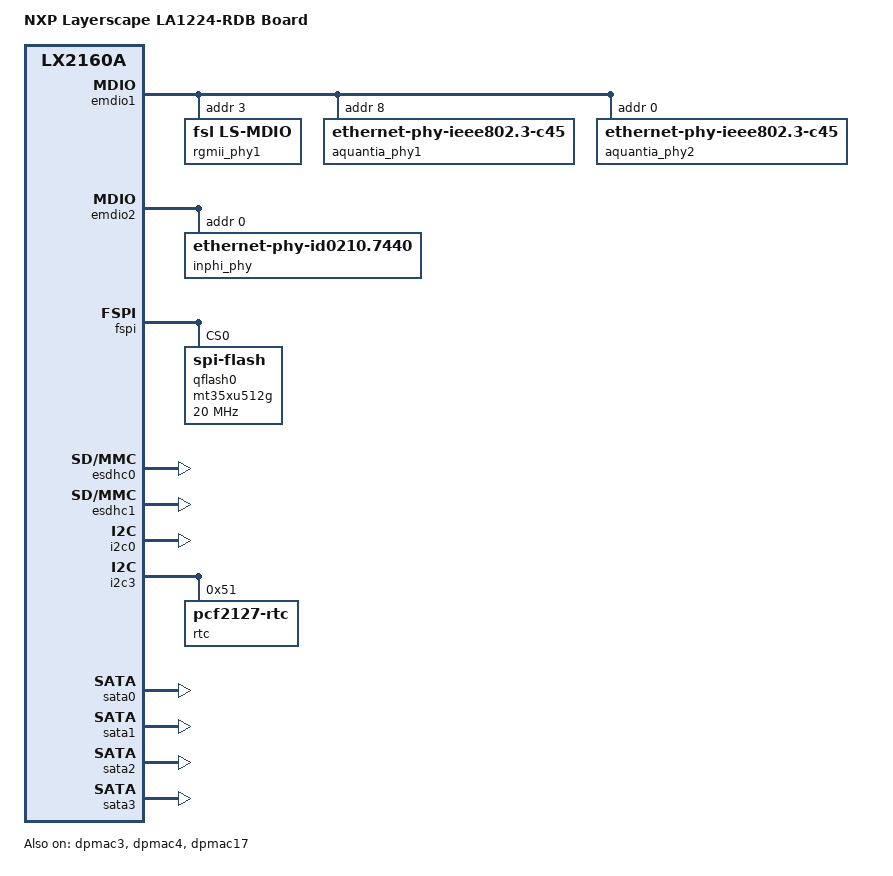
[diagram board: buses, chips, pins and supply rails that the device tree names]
// SPDX-License-Identifier: GPL-2.0+ OR X11
/*
 * NXP LA1224RDB device tree source
 *
 * Copyright 2020-2022 NXP
 *
 */

/dts-v1/;

#include "fsl-lx2160a.dtsi"

/ {
	model = "NXP Layerscape LA1224-RDB Board";
	compatible = "nxp,la1224rdb", "fsl,lx2160a";

	aliases {
		spi0 = &fspi;
	};
};

&dpmac3 {
	status = "okay";
	phy-handle = <&aquantia_phy1>;
	phy-connection-type = "usxgmii";
};

&dpmac4 {
	status = "okay";
	phy-handle = <&aquantia_phy2>;
	phy-connection-type = "usxgmii";
};

&dpmac17 {
	status = "okay";
	phy-handle = <&rgmii_phy1>;
	phy-connection-type = "rgmii-id";
};

&emdio1 {
	status = "okay";
	rgmii_phy1: ethernet-phy@1 {
		/* AR8035 PHY - "compatible" property not strictly needed */
		compatible = "fsl,ls-mdio";
		reg = <0x3>;
		/* Poll mode - no "interrupts" property defined */
	};
	aquantia_phy1: ethernet-phy@4 {
		/* AQR107 PHY - "compatible" property not strictly needed */
		compatible = "ethernet-phy-ieee802.3-c45";
		interrupts = <GIC_SPI 2 IRQ_TYPE_LEVEL_HIGH>;
		reg = <0x8>;
	};
	aquantia_phy2: ethernet-phy@5 {
		/* AQR107 PHY - "compatible" property not strictly needed */
		compatible = "ethernet-phy-ieee802.3-c45";
		interrupts = <GIC_SPI 3 IRQ_TYPE_LEVEL_HIGH>;
		reg = <0x0>;
	};
};

&emdio2 {
	status = "okay";
	inphi_phy: ethernet-phy@0 {
		compatible = "ethernet-phy-id0210.7440";
		reg = <0x0>;
	};
};

&fspi {
	bus-num = <0>;
	status = "okay";
	fspi-has-second-chip;

	qflash0: mt35xu512g@0 {
		#address-cells = <1>;
		#size-cells = <1>;
		compatible = "spi-flash";
		spi-max-frequency = <20000000>;
		reg = <0>;
		/* The following setting enables 1-1-8 (CMD-ADDR-DATA) mode */
		fspi-rx-bus-width = <8>; /* 8 FSPI Rx lines */
		fspi-tx-bus-width = <1>; /* 1 FSPI Tx line */
	};

	/*
	 * MCR2[SAMEDEVICEEN] bit is enabled in FlexSPI controller for
	 * LX2160ARDB and LX2160AQDS board. Both these has same type of flash
	 * slave devices connected on both A0 and A1.
	 * No need to provide node info for second flash device.
	 */
};

&esdhc0 {
	status = "okay";
};

&esdhc1 {
	status = "okay";
};

&i2c0 {
	status = "okay";
	u-boot,dm-pre-reloc;
};

&i2c3 {
	status = "okay";

	rtc@51 {
		compatible = "pcf2127-rtc";
		reg = <0x51>;
	};
};

&sata0 {
	status = "okay";
};

&sata1 {
	status = "okay";
};

&sata2 {
	status = "okay";
};

&sata3 {
	status = "okay";
};
